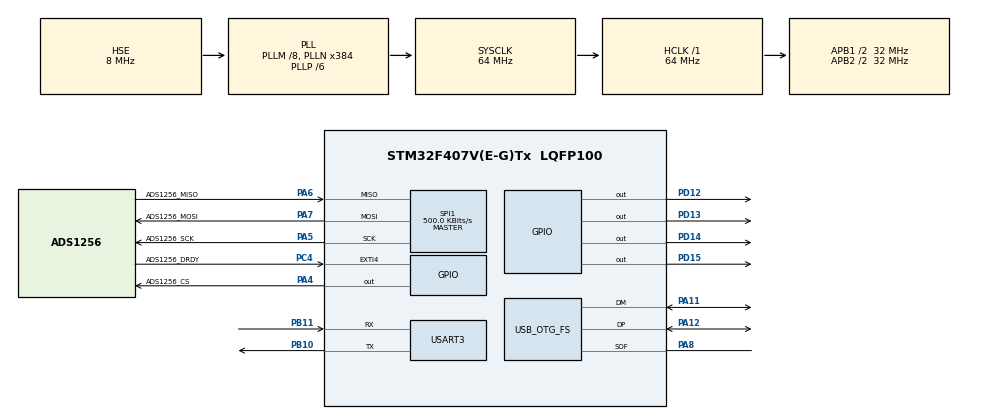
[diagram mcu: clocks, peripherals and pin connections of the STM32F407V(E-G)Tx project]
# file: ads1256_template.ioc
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Mcu.Family=STM32F4
Mcu.Name=STM32F407V(E-G)Tx
Mcu.Package=LQFP100
NVIC.EXTI4_IRQn=true\:0\:0\:false\:false\:true\:true\:true\:true
NVIC.OTG_FS_IRQn=true\:0\:0\:false\:false\:true\:false\:true\:true
NVIC.PriorityGroup=NVIC_PRIORITYGROUP_4
PA11.Mode=Device_Only
PA11.Signal=USB_OTG_FS_DM
PA12.Mode=Device_Only
PA12.Signal=USB_OTG_FS_DP
PA13.Mode=Trace_Asynchronous_SW
PA13.Signal=SYS_JTMS-SWDIO
PA14.Mode=Trace_Asynchronous_SW
PA14.Signal=SYS_JTCK-SWCLK
PA4.GPIO_Label=ADS1256_CS
PA4.Signal=GPIO_Output
PA5.GPIO_Label=ADS1256_SCK
PA5.Mode=Full_Duplex_Master
PA5.Signal=SPI1_SCK
PA6.GPIO_Label=ADS1256_MISO
PA6.Mode=Full_Duplex_Master
PA6.Signal=SPI1_MISO
PA7.GPIO_Label=ADS1256_MOSI
PA7.Mode=Full_Duplex_Master
PA7.Signal=SPI1_MOSI
PA8.Mode=Activate_SOF_FS
PA8.Signal=USB_OTG_FS_SOF
PB10.Mode=Asynchronous
PB10.Signal=USART3_TX
PB11.Mode=Asynchronous
PB11.Signal=USART3_RX
PB3.Mode=Trace_Asynchronous_SW
PB3.Signal=SYS_JTDO-SWO
PC14-OSC32_IN.Mode=LSE-External-Oscillator
PC14-OSC32_IN.Signal=RCC_OSC32_IN
PC15-OSC32_OUT.Mode=LSE-External-Oscillator
PC15-OSC32_OUT.Signal=RCC_OSC32_OUT
PC4.GPIO_Label=ADS1256_DRDY
PC4.Signal=GPXTI4
PD12.Signal=GPIO_Output
PD13.Signal=GPIO_Output
PD14.Signal=GPIO_Output
PD15.Signal=GPIO_Output
PH0-OSC_IN.Mode=HSE-External-Oscillator
PH0-OSC_IN.Signal=RCC_OSC_IN
PH1-OSC_OUT.Mode=HSE-External-Oscillator
PH1-OSC_OUT.Signal=RCC_OSC_OUT
ProjectManager.HeapSize=0x1000
ProjectManager.StackSize=0x400
ProjectManager.TargetToolchain=STM32CubeIDE
RCC.48MHZClocksFreq_Value=48000000
RCC.AHBFreq_Value=64000000
RCC.APB1CLKDivider=RCC_HCLK_DIV2
RCC.APB1Freq_Value=32000000
RCC.APB1TimFreq_Value=64000000
RCC.APB2CLKDivider=RCC_HCLK_DIV2
RCC.APB2Freq_Value=32000000
RCC.APB2TimFreq_Value=64000000
RCC.CortexFreq_Value=64000000
RCC.HCLKFreq_Value=64000000
RCC.HSE_VALUE=8000000
RCC.HSI_VALUE=16000000
RCC.PLLM=4
RCC.PLLP=RCC_PLLP_DIV6
RCC.PLLQ=8
RCC.SYSCLKFreq_VALUE=64000000
RCC.SYSCLKSource=RCC_SYSCLKSOURCE_PLLCLK
RCC.VCOOutputFreq_Value=384000000
SPI1.BaudRatePrescaler=SPI_BAUDRATEPRESCALER_64
SPI1.CLKPhase=SPI_PHASE_2EDGE
SPI1.CalculateBaudRate=500.0 KBits/s
SPI1.Direction=SPI_DIRECTION_2LINES
SPI1.Mode=SPI_MODE_MASTER
SPI1.VirtualType=VM_MASTER
USART3.VirtualMode=VM_ASYNC
USB_DEVICE.CLASS_NAME_FS=CDC
USB_DEVICE.VirtualMode-CDC_FS=Cdc
USB_DEVICE.VirtualModeFS=Cdc_FS
USB_OTG_FS.VirtualMode=Device_Only
VP_USB_DEVICE_VS_USB_DEVICE_CDC_FS.Mode=CDC_FS
board=custom

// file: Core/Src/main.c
/* USER CODE BEGIN Header */
/**
 ******************************************************************************
 * @file           : main.c
 * @brief          : Main program body
 ******************************************************************************
 * @attention
 *
 * Copyright (c) 2023 STMicroelectronics.
 * All rights reserved.
 *
 * This software is licensed under terms that can be found in the LICENSE file
 * in the root directory of this software component.
 * If no LICENSE file comes with this software, it is provided AS-IS.
 *
 ******************************************************************************
 */

/* USER CODE END Header */
#include "main.h"
#include "usb_device.h"

/* USER CODE BEGIN Includes */
#include "usbd_cdc_if.h"
/* USER CODE END Includes */

/* USER CODE BEGIN PD */
#define _DEBBUG_
#define RMS_BUFFER_SIZE 30

#define AVE_BUF_SIZE 30

/* USER CODE END PD */

SPI_HandleTypeDef hspi1;

UART_HandleTypeDef huart3;

/* USER CODE BEGIN PV */

/*_______Constans__________*/
const double slope = 0.0819;		//ADS Calibration slope
const int32_t offset = 5386;			//ADS Tare Offset

/*Average*/
uint32_t ave_buffer[AVE_BUF_SIZE] = { 0 };
uint32_t ave_indx = 0;
volatile int32_t fval;

#ifdef _DEBBUG_
uint32_t loop_counter = 0;
#endif

volatile uint8_t data_ready_flag = 0;
volatile uint32_t instant_adc_val = 0;
volatile uint32_t ads_val = 0;
uint32_t newTime, oldTime, oldTime2;
/* USER CODE END PV */

void SystemClock_Config(void);
static void MX_GPIO_Init(void);
static void MX_SPI1_Init(void);
static void MX_USART3_UART_Init(void);
/* USER CODE BEGIN PFP */
void printMessage(char *format, ...);
void sendMessage(char *format, ...);
bool inited=false;
/* USER CODE END PFP */

int main(void) {

	/* MCU Configuration--------------------------------------------------------*/

	/* Reset of all peripherals, Initializes the Flash interface and the Systick. */
	HAL_Init();

	/* Configure the system clock */
	SystemClock_Config();

	/* Initialize all configured peripherals */
	MX_GPIO_Init();
	MX_SPI1_Init();
	MX_USART3_UART_Init();
	MX_USB_DEVICE_Init();
	/* USER CODE BEGIN 2 */

	printMessage("ADS1256 initialized \n\r"); //usart3 üzerinden gönderir

	/***************************************/

	set_PGA((uint8_t) PGA_64);//PGA ayarı (PGA_SET_VAL define group'dan header filedaki)
	set_DATARATE(DRATE_30000); //Data Rate ayarı (DRATE_SET_VAL define group'dan header filedaki)

	/*****************************************/

	HAL_Delay(30);
	ads_perform_self_calib();//ADC nin kendini kalibre etmesi için bu fonksiyon çağrılır. Ardından Data rate'e göre belirli süre beklenmelidir.
	HAL_Delay(30);
	ads_change_channel(ADS125X_MUXP_AIN0, ADS125X_MUXN_AIN1);
	inited=true;
	/* USER CODE END 2 */

	/* Infinite loop */
	while (1) {

		/* USER CODE BEGIN 3 */
		newTime = HAL_GetTick();
		if (newTime - oldTime > 50) {
			oldTime = newTime;
			sendMessage("%d\n", fval);
		}
		if(data_ready_flag){
			data_ready_flag = 0;
			fval = ads_read_data();
		}
	}
	/* USER CODE END 3 */
}

void SystemClock_Config(void) {
	RCC_OscInitTypeDef RCC_OscInitStruct = { 0 };
	RCC_ClkInitTypeDef RCC_ClkInitStruct = { 0 };

	/** Configure the main internal regulator output voltage
	 */
	__HAL_RCC_PWR_CLK_ENABLE();
	__HAL_PWR_VOLTAGESCALING_CONFIG(PWR_REGULATOR_VOLTAGE_SCALE1);

	/** Initializes the RCC Oscillators according to the specified parameters
	 * in the RCC_OscInitTypeDef structure.
	 */
	RCC_OscInitStruct.OscillatorType = RCC_OSCILLATORTYPE_HSE;
	RCC_OscInitStruct.HSEState = RCC_HSE_ON;
	RCC_OscInitStruct.PLL.PLLState = RCC_PLL_ON;
	RCC_OscInitStruct.PLL.PLLSource = RCC_PLLSOURCE_HSE;
	RCC_OscInitStruct.PLL.PLLM = 8;
	RCC_OscInitStruct.PLL.PLLN = 384;
	RCC_OscInitStruct.PLL.PLLP = RCC_PLLP_DIV6;
	RCC_OscInitStruct.PLL.PLLQ = 8;
	if (HAL_RCC_OscConfig(&RCC_OscInitStruct) != HAL_OK) {
		Error_Handler();
	}

	/** Initializes the CPU, AHB and APB buses clocks
	 */
	RCC_ClkInitStruct.ClockType = RCC_CLOCKTYPE_HCLK | RCC_CLOCKTYPE_SYSCLK
			| RCC_CLOCKTYPE_PCLK1 | RCC_CLOCKTYPE_PCLK2;
	RCC_ClkInitStruct.SYSCLKSource = RCC_SYSCLKSOURCE_PLLCLK;
	RCC_ClkInitStruct.AHBCLKDivider = RCC_SYSCLK_DIV1;
	RCC_ClkInitStruct.APB1CLKDivider = RCC_HCLK_DIV2;
	RCC_ClkInitStruct.APB2CLKDivider = RCC_HCLK_DIV2;

	if (HAL_RCC_ClockConfig(&RCC_ClkInitStruct, FLASH_LATENCY_2) != HAL_OK) {
		Error_Handler();
	}
}

static void MX_SPI1_Init(void) {

	/* SPI1 parameter configuration*/
	hspi1.Instance = SPI1;
	hspi1.Init.Mode = SPI_MODE_MASTER;
	hspi1.Init.Direction = SPI_DIRECTION_2LINES;
	hspi1.Init.DataSize = SPI_DATASIZE_8BIT;
	hspi1.Init.CLKPolarity = SPI_POLARITY_LOW;
	hspi1.Init.CLKPhase = SPI_PHASE_2EDGE;
	hspi1.Init.NSS = SPI_NSS_SOFT;
	hspi1.Init.BaudRatePrescaler = SPI_BAUDRATEPRESCALER_2;
	hspi1.Init.FirstBit = SPI_FIRSTBIT_MSB;
	hspi1.Init.TIMode = SPI_TIMODE_DISABLE;
	hspi1.Init.CRCCalculation = SPI_CRCCALCULATION_DISABLE;
	hspi1.Init.CRCPolynomial = 10;
	if (HAL_SPI_Init(&hspi1) != HAL_OK) {
		Error_Handler();
	}

}

static void MX_USART3_UART_Init(void) {

	huart3.Instance = USART3;
	huart3.Init.BaudRate = 115200;
	huart3.Init.WordLength = UART_WORDLENGTH_8B;
	huart3.Init.StopBits = UART_STOPBITS_1;
	huart3.Init.Parity = UART_PARITY_NONE;
	huart3.Init.Mode = UART_MODE_TX_RX;
	huart3.Init.HwFlowCtl = UART_HWCONTROL_NONE;
	huart3.Init.OverSampling = UART_OVERSAMPLING_16;
	if (HAL_UART_Init(&huart3) != HAL_OK) {
		Error_Handler();
	}

}

static void MX_GPIO_Init(void) {
	GPIO_InitTypeDef GPIO_InitStruct = { 0 };

	/* GPIO Ports Clock Enable */
	__HAL_RCC_GPIOC_CLK_ENABLE();
	__HAL_RCC_GPIOH_CLK_ENABLE();
	__HAL_RCC_GPIOA_CLK_ENABLE();
	__HAL_RCC_GPIOB_CLK_ENABLE();
	__HAL_RCC_GPIOD_CLK_ENABLE();

	/*Configure GPIO pin Output Level */
	HAL_GPIO_WritePin(ADS1256_CS_GPIO_Port, ADS1256_CS_Pin, GPIO_PIN_RESET);

	/*Configure GPIO pin Output Level */
	HAL_GPIO_WritePin(GPIOD,
			GPIO_PIN_12 | GPIO_PIN_13 | GPIO_PIN_14 | GPIO_PIN_15,
			GPIO_PIN_RESET);

	/*Configure GPIO pin : ADS1256_CS_Pin */
	GPIO_InitStruct.Pin = ADS1256_CS_Pin;
	GPIO_InitStruct.Mode = GPIO_MODE_OUTPUT_PP;
	GPIO_InitStruct.Pull = GPIO_NOPULL;
	GPIO_InitStruct.Speed = GPIO_SPEED_FREQ_LOW;
	HAL_GPIO_Init(ADS1256_CS_GPIO_Port, &GPIO_InitStruct);

	/*Configure GPIO pin : ADS1256_DRDY_Pin */
	GPIO_InitStruct.Pin = ADS1256_DRDY_Pin;
	GPIO_InitStruct.Mode = GPIO_MODE_IT_RISING;
	GPIO_InitStruct.Pull = GPIO_NOPULL;
	HAL_GPIO_Init(ADS1256_DRDY_GPIO_Port, &GPIO_InitStruct);

	/*Configure GPIO pins : PD12 PD13 PD14 PD15 */
	GPIO_InitStruct.Pin = GPIO_PIN_12 | GPIO_PIN_13 | GPIO_PIN_14 | GPIO_PIN_15;
	GPIO_InitStruct.Mode = GPIO_MODE_OUTPUT_PP;
	GPIO_InitStruct.Pull = GPIO_NOPULL;
	GPIO_InitStruct.Speed = GPIO_SPEED_FREQ_LOW;
	HAL_GPIO_Init(GPIOD, &GPIO_InitStruct);

	/* EXTI interrupt init*/
	HAL_NVIC_SetPriority(EXTI4_IRQn, 0, 0);
	HAL_NVIC_EnableIRQ(EXTI4_IRQn);

}

/* USER CODE BEGIN 4 */

void printMessage(char *format, ...) {
	char comingMessage[100];

	va_list vaList;
	va_start(vaList, format);
	vsprintf(comingMessage, format, vaList);
	HAL_UART_Transmit(&huart3, (uint8_t*) comingMessage, strlen(comingMessage),
			HAL_MAX_DELAY);
	va_end(vaList);

	/*VirtualComport ile gönderim*/
	//CDC_Transmit_FS((uint8_t *) comingMessage, strlen(comingMessage));
}

void sendMessage(char *format, ...) {
	char comingMessage[100];

	va_list vaList;
	va_start(vaList, format);
	vsprintf(comingMessage, format, vaList);
	va_end(vaList);

	/*VirtualComport ile gönderim*/
	CDC_Transmit_FS((uint8_t*) comingMessage, strlen(comingMessage));
}

void HAL_GPIO_EXTI_Callback(uint16_t GPIO_Pin) {
	if (GPIO_Pin == ADS1256_DRDY_Pin) {
		if(inited){
			data_ready_flag = 1;
		//	fval = ads_read_data();
		}
	}
}

/* USER CODE END 4 */

void Error_Handler(void) {
	__disable_irq();
	while (1) {
	}
}
